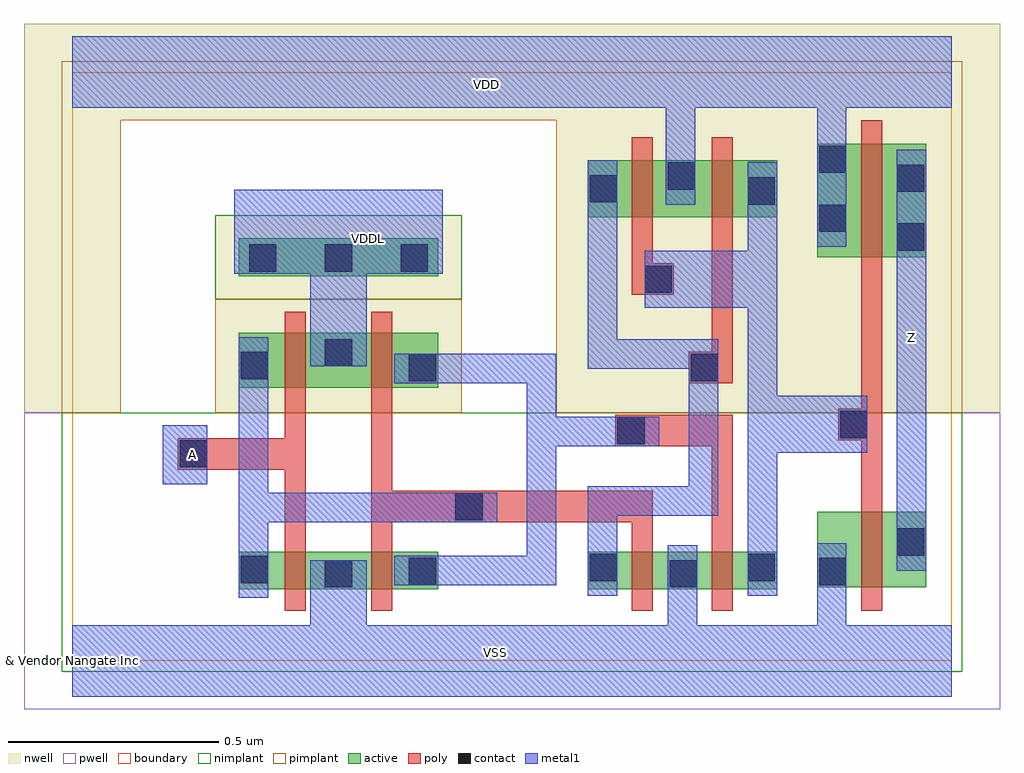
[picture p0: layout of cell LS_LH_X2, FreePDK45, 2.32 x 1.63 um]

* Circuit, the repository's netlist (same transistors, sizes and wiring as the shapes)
* 
* ******************************************************************************
* *                                                                            *
* *                   Copyright (C) 2004-2011, Nangate Inc.                    *
* *                           All rights reserved.                             *
* *                                                                            *
* * Nangate and the Nangate logo are trademarks of Nangate Inc.                *
* *                                                                            *
* * All trademarks, logos, software marks, and trade names (collectively the   *
* * "Marks") in this program are proprietary to Nangate or other respective    *
* * owners that have granted Nangate the right and license to use such Marks.  *
* * You are not permitted to use the Marks without the prior written consent   *
* * of Nangate or such third party that may own the Marks.                     *
* *                                                                            *
* * This file has been provided pursuant to a License Agreement containing     *
* * restrictions on its use. This file contains valuable trade secrets and     *
* * proprietary information of Nangate Inc., and is protected by U.S. and      *
* * international laws and/or treaties.                                        *
* *                                                                            *
* * The copyright notice(s) in this file does not indicate actual or intended  *
* * publication of this file.                                                  *
* *                                                                            *
* *     NGLibraryCreator, v2010.08-HR32-SP3-2010-08-05 - build 1009061800      *
* *                                                                            *
* ******************************************************************************
* 
* 
* Running on server08.nangate.com for user Giancarlo Franciscatto (gfr).
* Local time is now Thu, 6 Jan 2011, 19:45:48.
* Main process id is 3320.
*
********************************************************************************
*                                                                              *
* Cellname:   LS_LH_X2.                                                        *
*                                                                              *
* Technology: NCSU FreePDK 45nm.                                               *
* Format:     Cdl.                                                             *
*                                                                              *
* Written on server08.nangate.com for user Giancarlo Franciscatto (gfr)        *
* at 19:45:48 on Thu, 6 Jan 2011.                                              *
*                                                                              *
********************************************************************************
.SUBCKT LS_LH_X2 A Z VDD VDDL VSS 
*.PININFO A:I Z:O VDD:P VDDL:P VSS:G 
*.EQN Z=A
M_i_0 VSS A net_000 VSS NMOS_VTL W=0.090000U L=0.050000U
M_i_7 net_001 net_000 VSS VSS NMOS_VTL W=0.090000U L=0.050000U
M_i_13 VSS net_000 net_002 VSS NMOS_VTL W=0.090000U L=0.050000U
M_i_20 net_003 net_001 VSS VSS NMOS_VTL W=0.090000U L=0.050000U
M_i_26 Z net_003 VSS VSS NMOS_VTL W=0.180000U L=0.050000U
M_i_33 VDDL A net_000 VDDL PMOS_VTL W=0.130000U L=0.050000U
M_i_40 net_001 net_000 VDDL VDDL PMOS_VTL W=0.130000U L=0.050000U
M_i_46 VDD net_003 net_002 VDD PMOS_VTL W=0.135000U L=0.050000U
M_i_52 net_003 net_002 VDD VDD PMOS_VTL W=0.135000U L=0.050000U
M_i_58 Z net_003 VDD VDD PMOS_VTL W=0.270000U L=0.050000U
.ENDS 

********************************************************************************
*
* END
*
********************************************************************************

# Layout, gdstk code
import gdstk
lib = gdstk.Library(unit=1e-6, precision=1e-10)
def R(c, l, rs):  # rectangles x0, y0, x1, y1
    for r in rs: c.add(gdstk.rectangle(r[:2], r[2:], *l))
def A(c, l, x, y, w, h, nx, ny, dx, dy):  # array of equal rectangles
    R(c, l, [(x+i*dx, y+j*dy, x+i*dx+w, y+j*dy+h) for i in range(nx) for j in range(ny)])
def P(c, l, *ps):  # polygons
    for p in ps: c.add(gdstk.Polygon(p, *l))
active = (1, 0)
pwell = (2, 0)
nwell = (3, 0)
nimplant = (4, 0)
pimplant = (5, 0)
poly = (9, 0)
contact = (10, 0)
metal1 = (11, 0)
boundary = (235, 0)

ls_lh_x2 = lib.new_cell('LS_LH_X2')
R(ls_lh_x2, active, [(0.395,0.17,0.87,0.26), (1.225,0.17,1.675,0.26), (1.77,0.175,2.03,0.355), (0.395,0.65,0.87,0.78), (0.395,0.915,0.87,1.005), (1.77,0.96,2.03,1.23), (1.225,1.055,1.675,1.19)])
R(ls_lh_x2, pwell, [(-0.115,-0.115,2.205,0.59)])
R(ls_lh_x2, nwell, [(0.34,0.59,0.925,1.06)])
P(ls_lh_x2, nwell, [(-0.115,0.59),(0.115,0.59),(0.115,1.285),(1.15,1.285),(1.15,0.59),(2.205,0.59),(2.205,1.515),(-0.115,1.515)])
R(ls_lh_x2, nimplant, [(-0.025,-0.025,2.115,0.59), (0.34,0.86,0.925,1.06)])
R(ls_lh_x2, pimplant, [(0.34,0.59,0.925,0.86)])
P(ls_lh_x2, pimplant, [(-0.025,0.59),(0.115,0.59),(0.115,1.285),(1.15,1.285),(1.15,0.59),(2.115,0.59),(2.115,1.425),(-0.025,1.425)])
P(ls_lh_x2, poly, [(1.465,0.66),(1.57,0.66),(1.57,1.245),(1.52,1.245),(1.52,0.735),(1.465,0.735)],
  [(1.82,0.525),(1.875,0.525),(1.875,0.12),(1.925,0.12),(1.925,1.285),(1.875,1.285),(1.875,0.6),(1.82,0.6)],
  [(0.25,0.455),(0.505,0.455),(0.505,0.12),(0.555,0.12),(0.555,0.83),(0.505,0.83),(0.505,0.53),(0.25,0.53)],
  [(0.71,0.12),(0.76,0.12),(0.76,0.33),(1.33,0.33),(1.33,0.12),(1.38,0.12),(1.38,0.405),(0.76,0.405),(0.76,0.83),(0.71,0.83)],
  [(1.33,0.87),(1.43,0.87),(1.43,0.945),(1.38,0.945),(1.38,1.245),(1.33,1.245)],
  [(1.29,0.51),(1.52,0.51),(1.52,0.12),(1.57,0.12),(1.57,0.585),(1.29,0.585)])
A(ls_lh_x2, contact, 0.42, 0.925, 0.065, 0.065, 3, 1, 0.18, 0)
R(ls_lh_x2, contact, [(0.6,0.175,0.665,0.24), (1.42,0.175,1.485,0.24), (0.8,0.18,0.865,0.245), (1.775,0.18,1.84,0.245), (0.4,0.185,0.465,0.25), (1.23,0.19,1.295,0.255), (1.605,0.19,1.67,0.255), (1.96,0.25,2.025,0.315), (0.91,0.335,0.975,0.4), (0.255,0.46,0.32,0.525), (1.295,0.515,1.36,0.58), (1.825,0.53,1.89,0.595), (0.8,0.665,0.865,0.73), (1.47,0.665,1.535,0.73), (0.4,0.67,0.465,0.735), (0.6,0.7,0.665,0.765), (1.36,0.875,1.425,0.94), (1.96,0.975,2.025,1.04), (1.775,1.02,1.84,1.085), (1.605,1.085,1.67,1.15), (1.23,1.09,1.295,1.155), (1.96,1.115,2.025,1.18), (1.415,1.12,1.48,1.185), (1.775,1.16,1.84,1.225)])
R(ls_lh_x2, metal1, [(1.96,0.215,2.03,1.215), (0.215,0.42,0.32,0.56)])
P(ls_lh_x2, metal1, [(0.385,0.92),(0.565,0.92),(0.565,0.7),(0.7,0.7),(0.7,0.92),(0.88,0.92),(0.88,1.12),(0.385,1.12)],
  [(0.395,0.15),(0.465,0.15),(0.465,0.33),(1.01,0.33),(1.01,0.4),(0.465,0.4),(0.465,0.77),(0.395,0.77)],
  [(0.765,0.66),(1.08,0.66),(1.08,0.25),(0.765,0.25),(0.765,0.18),(1.15,0.18),(1.15,0.51),(1.395,0.51),(1.395,0.58),(1.15,0.58),(1.15,0.73),(0.765,0.73)],
  [(1.225,0.695),(1.465,0.695),(1.465,0.415),(1.225,0.415),(1.225,0.155),(1.295,0.155),(1.295,0.345),(1.535,0.345),(1.535,0.765),(1.295,0.765),(1.295,1.19),(1.225,1.19)],
  [(1.36,0.84),(1.605,0.84),(1.605,0.155),(1.675,0.155),(1.675,0.495),(1.89,0.495),(1.89,0.63),(1.675,0.63),(1.675,1.185),(1.605,1.185),(1.605,0.975),(1.36,0.975)],
  [(0,-0.085),(2.09,-0.085),(2.09,0.085),(1.84,0.085),(1.84,0.28),(1.77,0.28),(1.77,0.085),(1.485,0.085),(1.485,0.275),(1.415,0.275),(1.415,0.085),(0.7,0.085),(0.7,0.24),(0.565,0.24),(0.565,0.085),(0,0.085)],
  [(0,1.315),(1.41,1.315),(1.41,1.085),(1.48,1.085),(1.48,1.315),(1.77,1.315),(1.77,0.985),(1.84,0.985),(1.84,1.315),(2.09,1.315),(2.09,1.485),(0,1.485)])
R(ls_lh_x2, boundary, [(0,0,2.09,1.4)])
ls_lh_x2.add(gdstk.Label('VDDL', (0.705,1.005), layer=11, texttype=0))
ls_lh_x2.add(gdstk.Label('A', (0.285,0.49), layer=11, texttype=0))
ls_lh_x2.add(gdstk.Label('VSS', (1.005,0.02), layer=11, texttype=0))
ls_lh_x2.add(gdstk.Label('VDD', (0.985,1.37), layer=11, texttype=0))
ls_lh_x2.add(gdstk.Label('Z', (1.995,0.77), layer=11, texttype=0))
ls_lh_x2.add(gdstk.Label('& Vendor Nangate Inc', (0,0), layer=63, texttype=63))
ls_lh_x2.add(gdstk.Label('& Product Open Cell Library', (0,0), layer=63, texttype=63))
ls_lh_x2.add(gdstk.Label('& Version 2010_12', (0,0), layer=63, texttype=63))
ls_lh_x2.add(gdstk.Label('& Instance LS_LH_X2', (0,0), layer=63, texttype=63))

lib.write_gds('LS_LH_X2.gds')
